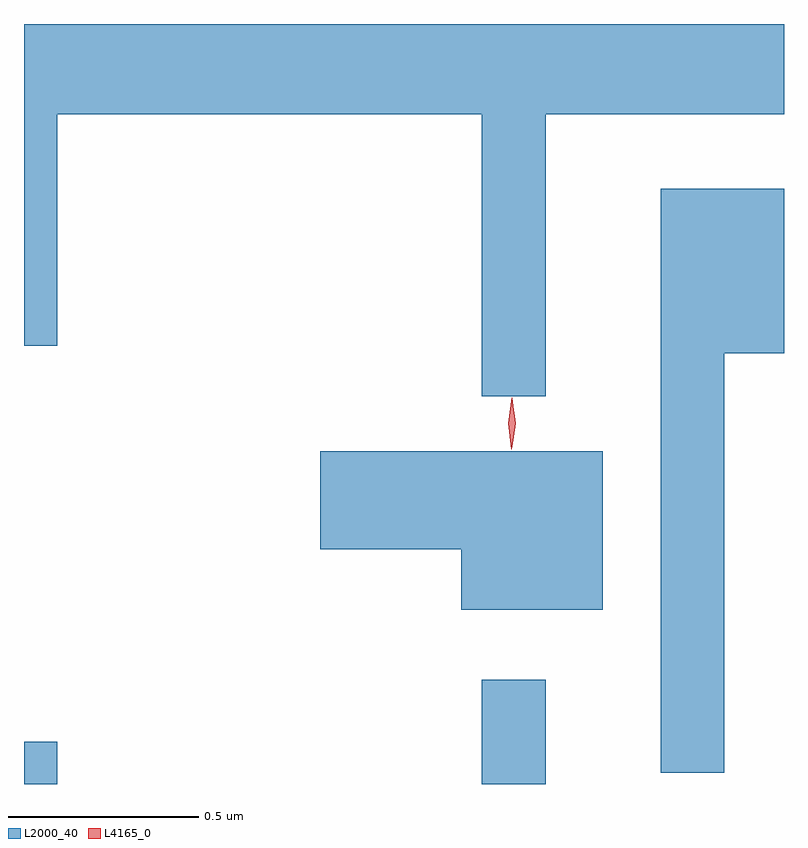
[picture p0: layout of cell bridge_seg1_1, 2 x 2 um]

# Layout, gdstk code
import gdstk
lib = gdstk.Library(unit=1e-6, precision=1e-09)
def R(c, l, rs):  # rectangles x0, y0, x1, y1
    for r in rs: c.add(gdstk.rectangle(r[:2], r[2:], *l))
def P(c, l, *ps):  # polygons
    for p in ps: c.add(gdstk.Polygon(p, *l))
L2000_40 = (2000, 40)
L4165_0 = (4165, 0)

bridge_seg1_1 = lib.new_cell('bridge_seg1_1')
R(bridge_seg1_1, L2000_40, [(1573.896,851.193,1573.984,851.304), (1575.101,851.193,1575.269,851.468)])
P(bridge_seg1_1, L2000_40, [(1575.269,852.956),(1575.896,852.956),(1575.896,853.193),(1573.896,853.193),(1573.896,852.346),(1573.984,852.346),(1573.984,852.956),(1575.101,852.956),(1575.101,852.213),(1575.269,852.213)],
  [(1575.739,852.326),(1575.896,852.326),(1575.896,852.759),(1575.571,852.759),(1575.571,851.223),(1575.739,851.223)],
  [(1575.419,852.069),(1574.676,852.069),(1574.676,851.811),(1575.046,851.811),(1575.046,851.651),(1575.419,851.651)])
P(bridge_seg1_1, L4165_0, [(1575.18,852.08),(1575.18,852.08),(1575.17,852.143),(1575.18,852.206),(1575.18,852.207),(1575.181,852.206),(1575.19,852.143),(1575.181,852.08)],
  [(1575.178,852.074),(1575.17,852.142),(1575.18,852.21),(1575.18,852.21),(1575.181,852.21),(1575.189,852.142),(1575.179,852.074),(1575.179,852.074)])

lib.write_gds('bridge_seg1_1.gds')
